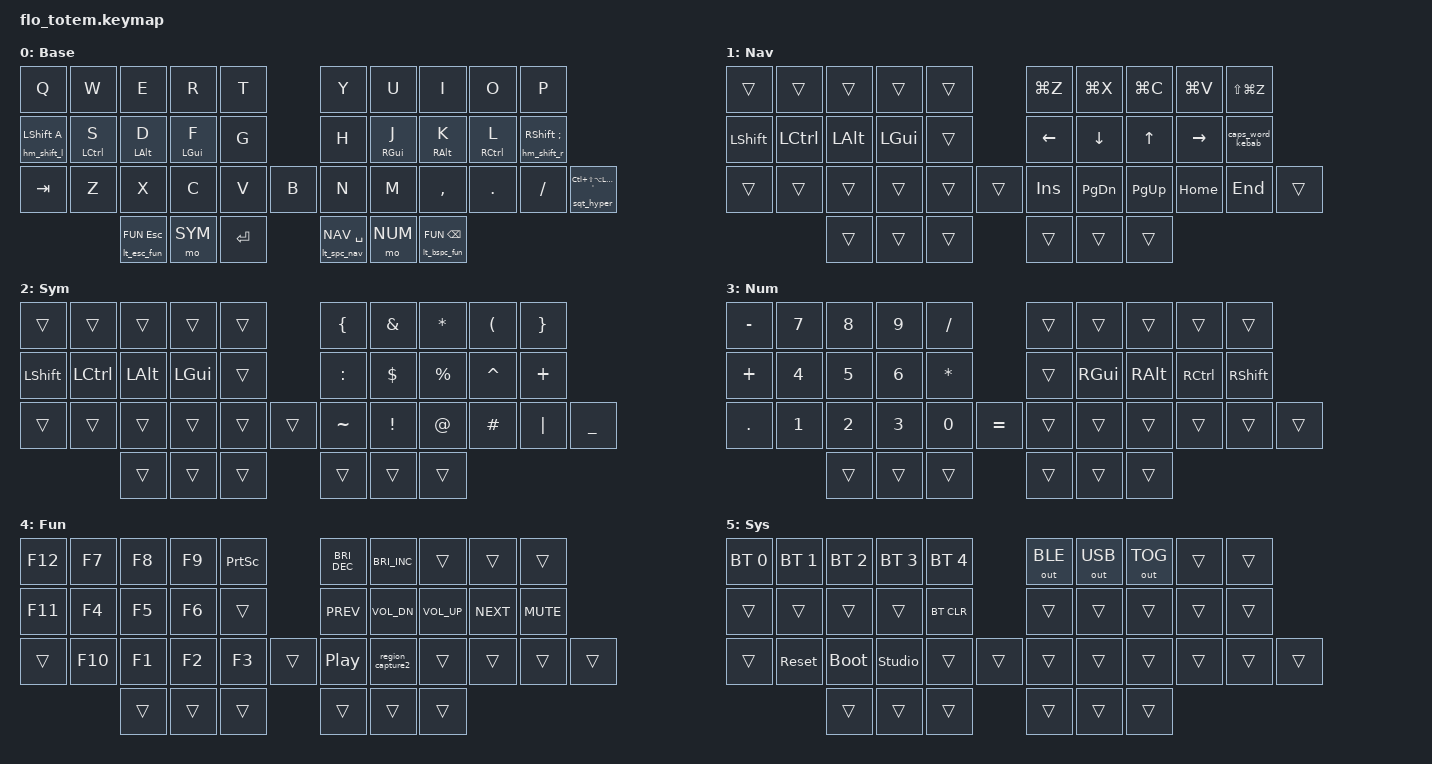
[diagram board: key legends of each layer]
/*
 * Variant A — "flo-core" (layer-tap thumbs, real mods on the free hand)
 *
 * Design lineage: Florian Gächter's Totem layout (flo.gaechter.xyz), adapted
 * to this repo's QWERTY base, positional homerow mods and thumb arrangement
 * (RET left-inner, SPC right-inner). See docs/split-keymap-research.md.
 *
 * Thumbs:  every thumb is a layer-tap or plain key; five momentary layers
 *          (NAV / SYM / NUM / FUN) + SYS tri-layer (hold NUM + SYM).
 * Mods:    each layer carries REAL modifiers on the free hand's home row,
 *          at the same positions as the homerow mods (A=Shift S=Ctrl D=Alt
 *          F=Gui | J=Gui K=Alt L=Ctrl ;=Shift). They chord instantly —
 *          no tap/hold timing — which is the fix for IntelliJ multi-mod
 *          combos (hold NAV, press Ctrl+Shift+Alt together, press key).
 * Wings:   TAB (left), ' / Hyper-hold (right).
 * Combos:  shared set incl. ESC (Q+W / J+K), BSPC (N+M), key repeat (,+.)
 */

#include <behaviors.dtsi>
#include <dt-bindings/zmk/keys.h>
#include <dt-bindings/zmk/bt.h>
#include <dt-bindings/zmk/outputs.h>

#include "zmk-helpers/helper.h"
#include "zmk-helpers/key-labels/totem.h"

#define KEYS_L LT0 LT1 LT2 LT3 LT4 LM0 LM1 LM2 LM3 LM4 LB0 LB1 LB2 LB3 LB4 LB5
#define KEYS_R RT0 RT1 RT2 RT3 RT4 RM0 RM1 RM2 RM3 RM4 RB0 RB1 RB2 RB3 RB4 RB5
#define KEYS_T LH2 LH1 LH0 RH0 RH1 RH2

#include "../includes/behaviours_homerow_mods.dtsi"
#include "../includes/behaviours_variants.dtsi"

#define BASE 0
#define NAV  1
#define SYM  2
#define NUM  3
#define FUN  4
#define SYS  5

#include "../includes/combos_variants.dtsi"

/ {
    conditional_layers {
        compatible = "zmk,conditional-layers";
        tri_layer {
            if-layers = <NUM SYM>;
            then-layer = <SYS>;
        };
    };

    keymap {
        compatible = "zmk,keymap";

        //             ┌────┬────┬────┬────┬────┐        ┌────┬────┬────┬────┬────┐
        //             │ Q  │ W  │ E  │ R  │ T  │        │ Y  │ U  │ I  │ O  │ P  │
        //             ├────┼────┼────┼────┼────┤        ├────┼────┼────┼────┼────┤
        //             │ A* │ S* │ D* │ F* │ G  │        │ H  │ J* │ K* │ L* │ ;* │
        //        ┌────┼────┼────┼────┼────┼────┤        ├────┼────┼────┼────┼────┼────┐
        //        │TAB │ Z  │ X  │ C  │ V  │ B  │        │ N  │ M  │ ,  │ .  │ /  │'⌘  │
        //        └────┴────┴────┴────┼────┼────┼────┐┌───┼────┼────┼────┼────┼────┴────┘
        //                           │ESC │SYM │ RET ││SPC │NUM │BSPC│
        //                           └────┴────┴─────┘└────┴────┴────┘
        // * hold for mods (Shift/Ctrl/Alt/Gui — mirrored both sides)

        base_layer {
            display-name = "Base";
            label = "BASE";

            bindings = <
                &kp Q                 &kp W                &kp E                &kp R               &kp T                        &kp Y       &kp U                &kp I               &kp O                 &kp P
                &hm_shift_l LSHFT A   &hm_l LCTRL S        &hm_l LALT D         &hm_l LGUI F        &kp G                        &kp H       &hm_r RGUI J          &hm_r RALT K        &hm_r RCTRL L         &hm_shift_r RSHFT SEMICOLON
                &kp TAB               &kp Z                &kp X                &kp C               &kp V        &kp B            &kp N       &kp M                &kp COMMA            &kp DOT               &kp SLASH                    &sqt_hyper LC(LS(LA(LGUI))) SQT
                                                             &lt_esc_fun FUN ESC    &mo SYM            &kp RET     &lt_spc_nav NAV SPACE    &mo NUM    &lt_bspc_fun FUN BSPC
            >;
        };

        // Real mods on the left home row; nav + clipboard on the right.
        //             ┌────┬────┬────┬────┬────┐        ┌─────┬─────┬─────┬─────┬─────┐
        //             │    │    │    │    │    │        │UNDO │CUT  │COPY │PASTE│REDO │
        //             ├────┼────┼────┼────┼────┤        ├─────┼─────┼─────┼─────┼─────┤
        //             │⇧   │⌃   │⌥   │⌘   │    │        │ ←   │ ↓   │ ↑   │ →   │CAPS │
        //        ┌────┼────┼────┼────┼────┼────┐        ├─────┼─────┼─────┼─────┼─────┼─────┐
        //        │    │    │    │    │    │    │        │ INS │PGDN │PGUP │HOME │END  │     │
        //        └────┴────┴────┴────┼────┼────┼────┐┌────┼─────┼─────┼─────┼─────┴─────┴─────┘
        //                           │    │    │    ││    │     │     │
        //                           └────┴────┴─────┘└────┴─────┴─────┘
        nav_layer {
            display-name = "Nav";
            label = "NAV";

            bindings = <
                &trans  &trans  &trans  &trans  &trans                    &kp LG(Z)      &kp LG(X)      &kp LG(C)      &kp LG(V)          &kp LS(LG(Z))
                &kp LSHFT  &kp LCTRL  &kp LALT  &kp LGUI  &trans          &kp LEFT       &kp DOWN       &kp UP         &kp RIGHT           &caps_word_kebab
                &trans  &trans  &trans  &trans  &trans  &trans             &kp INS        &kp PG_DN      &kp PG_UP      &kp HOME            &kp END            &trans
                                              &trans  &trans  &trans      &trans         &trans         &trans
            >;
        };

        // Symbols on the right (flo arrangement); real mods on the left home
        // row; '_' on the quote-wing.
        //             ┌────┬────┬────┬────┬────┐        ┌────┬────┬────┬────┬────┐
        //             │    │    │    │    │    │        │ {  │ &  │ *  │ (  │ }  │
        //             ├────┼────┼────┼────┼────┤        ├────┼────┼────┼────┼────┤
        //             │⇧   │⌃   │⌥   │⌘   │    │        │ :  │ $  │ %  │ ^  │ +  │
        //        ┌────┼────┼────┼────┼────┼────┐        ├────┼────┼────┼────┼────┼────┐
        //        │    │    │    │    │    │    │        │ ~  │ !  │ @  │ #  │ |  │ _  │
        //        └────┴────┴────┴────┼────┼────┼────┐┌───┼────┼────┼────┼────┼────┴────┘
        //                           │    │    │    ││    │    │    │
        //                           └────┴────┴─────┘└────┴────┴────┘
        sym_layer {
            display-name = "Sym";
            label = "SYM";

            bindings = <
                &trans  &trans  &trans  &trans  &trans                    &kp LBRC      &kp AMPS     &kp ASTRK     &kp LPAR      &kp RBRC
                &kp LSHFT  &kp LCTRL  &kp LALT  &kp LGUI  &trans          &kp COLON     &kp DLLR     &kp PRCNT     &kp CARET     &kp PLUS
                &trans  &trans  &trans  &trans  &trans  &trans            &kp TILDE     &kp EXCL     &kp AT        &kp HASH      &kp PIPE         &kp UNDER
                                              &trans  &trans  &trans      &trans        &trans       &trans
            >;
        };

        // Calculator-style numpad on the left (top-row digits, no KP_* codes);
        // real mods on the right home row — hold NUM + right Shift for
        // shifted digits (&, %, ...) straight from the numpad.
        //             ┌────┬────┬────┬────┬────┐        ┌────┬────┬────┬────┬────┐
        //             │ -  │ 7  │ 8  │ 9  │ /  │        │    │    │    │    │    │
        //             ├────┼────┼────┼────┼────┤        ├────┼────┼────┼────┼────┤
        //             │ +  │ 4  │ 5  │ 6  │ *  │        │    │⌘   │⌥   │⌃   │⇧   │
        //        ┌────┼────┼────┼────┼────┼────┐        ├────┼────┼────┼────┼────┼────┐
        //        │ .  │ 1  │ 2  │ 3  │ 0  │ =  │        │    │    │    │    │    │    │
        //        └────┴────┴────┴────┼────┼────┼────┐┌───┼────┼────┼────┼────┼────┴────┘
        //                           │    │    │    ││    │    │    │
        //                           └────┴────┴─────┘└────┴────┴────┘
        num_layer {
            display-name = "Num";
            label = "NUM";

            bindings = <
                &kp MINUS   &kp N7   &kp N8   &kp N9   &kp SLASH              &trans    &trans      &trans      &trans      &trans
                &kp PLUS    &kp N4   &kp N5   &kp N6   &kp ASTRK              &trans    &kp RGUI    &kp RALT    &kp RCTRL   &kp RSHFT
                &kp DOT     &kp N1   &kp N2   &kp N3   &kp N0     &kp EQUAL   &trans    &trans      &trans      &trans      &trans      &trans
                                                &trans  &trans  &trans          &trans    &trans      &trans
            >;
        };

        // F-keys on the left (numpad-mirrored), media on the right.
        //             ┌────┬────┬────┬────┬─────┐        ┌─────┬─────┬────┬────┬────┐
        //             │F12 │F7  │F8  │F9  │PSCR │        │BRI- │BRI+ │    │    │    │
        //             ├────┼────┼────┼────┼─────┤        ├─────┼─────┼────┼────┼────┤
        //             │F11 │F4  │F5  │F6  │    │        │PREV │VOL- │VOL+│NEXT│MUTE│
        //        ┌────┼────┼────┼────┼────┼─────┐        ├─────┼─────┼────┼────┼────┼────┐
        //        │    │F10 │F1  │F2  │F3  │    │        │PP   │RCAP2│    │    │    │    │
        //        └────┴────┴────┴────┼────┼────┼────┐┌───┼─────┼─────┼────┼────┼────┴────┘
        //                           │    │    │    ││    │    │    │
        //                           └────┴────┴─────┘└────┴────┴────┘
        fun_layer {
            display-name = "Fun";
            label = "FUN";

            bindings = <
                &kp F12   &kp F7   &kp F8   &kp F9   &kp PSCRN              &kp C_BRI_DEC    &kp C_BRI_INC   &trans    &trans    &trans
                &kp F11   &kp F4   &kp F5   &kp F6   &trans                 &kp C_PREV       &kp C_VOL_DN   &kp C_VOL_UP  &kp C_NEXT   &kp C_MUTE
                &trans    &kp F10  &kp F1   &kp F2   &kp F3     &trans      &kp C_PP         &region_capture2  &trans   &trans    &trans    &trans
                                                &trans  &trans  &trans      &trans    &trans    &trans
            >;
        };

        // Hold NUM + SYM together: BT / outputs / reset / studio.
        //             ┌─────┬─────┬─────┬─────┬─────┐        ┌──────┬─────┬──────┬────┬────┐
        //             │BT0  │BT1  │BT2  │BT3  │BT4  │        │OUTBLE│OUTUSB│OUTTOG│   │   │
        //             ├─────┼─────┼─────┼─────┼─────┤        ├─────┼─────┼──────┼────┼────┤
        //             │     │     │     │     │BTCLR│        │     │     │      │    │    │
        //        ┌────┼─────┼─────┼─────┼─────┼─────┐        ├─────┼─────┼──────┼────┼────┼────┐
        //        │    │RESET│BOOT │STUDIO│    │    │        │     │     │      │    │    │    │
        //        └────┴─────┴─────┴─────┼─────┼─────┼─────┐┌──┼─────┼─────┼──────┼────┼────┴────┘
        //                              │     │     │     ││   │     │     │
        //                              └─────┴─────┴─────┘└──┴─────┴─────┘
        sys_layer {
            display-name = "Sys";
            label = "SYS";

            bindings = <
                &bt BT_SEL 0    &bt BT_SEL 1    &bt BT_SEL 2    &bt BT_SEL 3    &bt BT_SEL 4          &out OUT_BLE     &out OUT_USB     &out OUT_TOG     &trans    &trans
                &trans          &trans          &trans          &trans          &bt BT_CLR           &trans           &trans           &trans           &trans    &trans
                &trans          &sys_reset      &bootloader     &studio_unlock  &trans          &trans &trans           &trans           &trans           &trans    &trans    &trans
                                                &trans          &trans          &trans                 &trans           &trans           &trans
            >;
        };
    };
};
